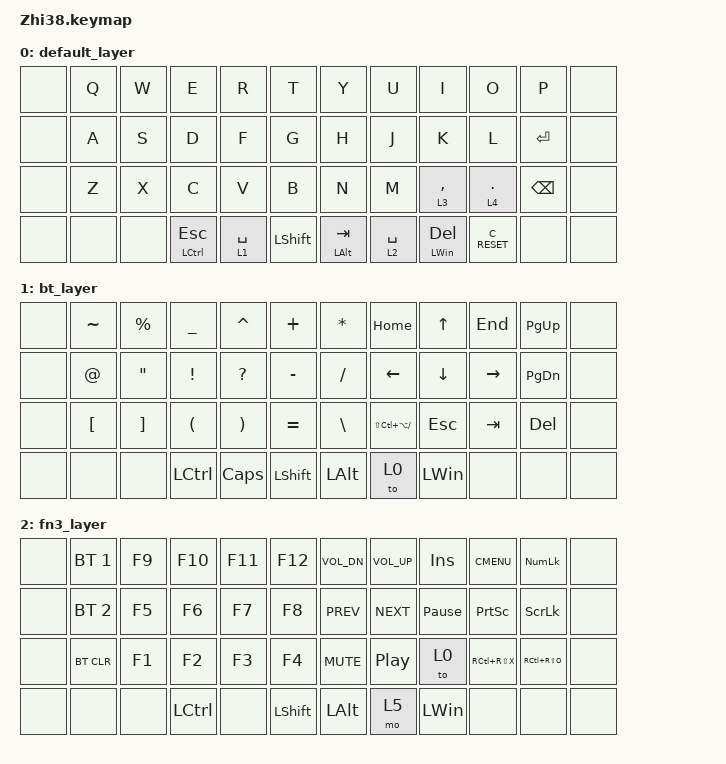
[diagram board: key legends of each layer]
#include <behaviors.dtsi>
#include <dt-bindings/zmk/keys.h>
#include <dt-bindings/zmk/bt.h>


/ {
	keymap: keymap {
		compatible = "zmk,keymap";

		default_layer {
                bindings = <
            &none    &kp Q     &kp W     &kp E         &kp R       &kp T     &kp Y        &kp U       &kp I          &kp O       &kp P     &none
            &none    &kp A     &kp S     &kp D         &kp F       &kp G     &kp H        &kp J       &kp K          &kp L       &kp ENTER &none 
            &none    &kp Z     &kp X     &kp C         &kp V       &kp B     &kp N        &kp M       &lt 3 COMMA    &lt 4 DOT   &kp BSPC  &none
            &none    &none     &none     &mt LCTRL ESC &lt 1 SPACE &kp LSHFT &mt LALT TAB &lt 2 SPACE &mt LWIN DEL   &C_RESET       &none     &none
            >;
		};

		bt_layer {
                bindings = <
            &none  &kp TILDE &kp PRCNT &kp UNDER &kp CARET  &kp PLUS   &kp STAR   &kp HOME              &kp UP    &kp END    &kp PG_UP   &none 
            &none  &kp AT    &kp DQT   &kp EXCL  &kp QMARK  &kp MINUS  &kp SLASH  &kp LEFT              &kp DOWN  &kp RIGHT  &kp PG_DN   &none 
            &none  &kp LBKT  &kp RBKT  &kp LPAR  &kp RPAR   &kp EQUAL  &kp BSLH   &kp LS(LC(LA(SLASH))) &kp ESC   &kp TAB    &kp DEL     &none 
            &none  &none     &none     &kp LCTRL &kp CAPS   &kp LSHFT  &kp LALT   &to 0                 &kp LWIN  &none      &none       &none
            >;
		};

		fn3_layer {
                 bindings = <
            &none   &bt BT_SEL 1  &kp F9  &kp F10   &kp F11   &kp F12   &kp C_VOL_DN   &kp C_VOL_UP  &kp INS          &kp K_CMENU    &kp KP_NLCK    &none 
            &none   &bt BT_SEL 2  &kp F5  &kp F6    &kp F7    &kp F8    &kp C_PREV     &kp C_NEXT    &kp PAUSE_BREAK  &kp PSCRN      &kp SLCK       &none 
            &none   &bt BT_CLR    &kp F1  &kp F2    &kp F3    &kp F4    &kp C_MUTE     &kp C_PP      &to 0            &kp RC(RS(X))  &kp RC(RS(O))  &none 
            &none   &none         &none   &kp LCTRL &none     &kp LSHFT &kp LALT       &mo 5         &kp LWIN         &none          &none          &none
            >;
		};
	};
};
